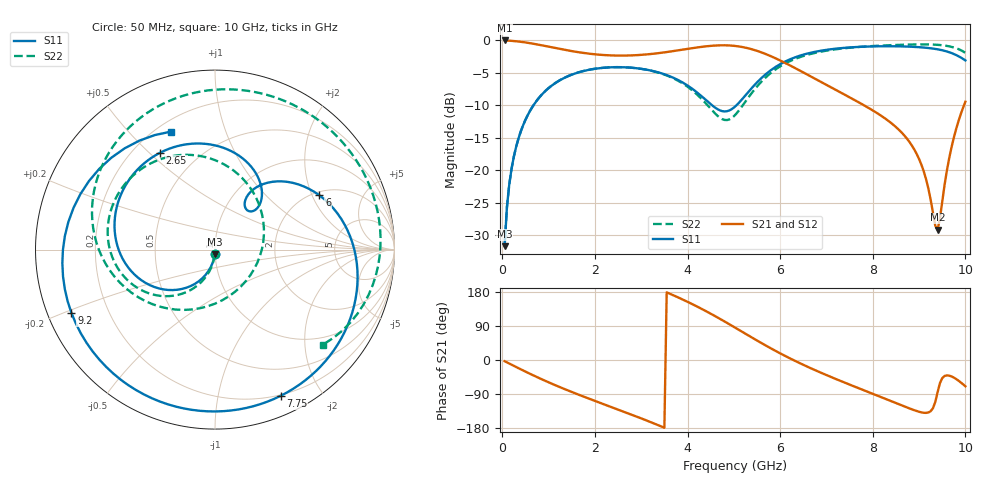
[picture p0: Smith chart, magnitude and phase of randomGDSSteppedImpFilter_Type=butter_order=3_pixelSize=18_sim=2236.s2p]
! freq	dB(S11)	phase(S11)	dB(S12)	phase(S12)
!  dB(S21)	phase(S21)	dB(S22)	phase(S22)
!S-par simulation data
#  GHz  S  DB  R 50
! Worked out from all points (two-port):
!   200 points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, 50 MHz to 10 GHz, reference 50 ohm
!   highest |S21| = -0.01 dB at 50 MHz (marker M1); lowest = -29.2 dB at 9.4 GHz (marker M2)
!   |S21| within 3 dB of the highest: start of sweep to 5.975 GHz
!   lowest |S11| = -31.7 dB at 50 MHz (marker M3), VSWR 1.05, Z = 49.8 - j2.58 ohm
!   |S11| at or under -10 dB: start of sweep to 674.3 MHz; 4.529 GHz to 5.057 GHz (527.4 MHz wide, 11 % of centre)
!   |S22| runs from -31.7 to -0.6 dB; largest |S21 - S12| = 0
!   S11 on the Smith chart (normalised r, x): 50 MHz: 1.00, -0.05; 2.65 GHz: 0.31, +0.54; 6 GHz: 2.14, +2.27; 7.75 GHz: 0.19, -1.53; 9.2 GHz: 0.07, -0.21; 10 GHz: 0.26, +0.66
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0.05  -31.73 -93.5  -0.01 -3.2  -0.01 -3.2  -31.73 -93.0
0.1  -25.73 -97.0  -0.02 -6.3  -0.02 -6.3  -25.73 -96.0
0.2  -19.79 -103.9  -0.07 -12.5  -0.07 -12.5  -19.79 -101.9
0.5  -12.25 -123.7  -0.31 -30.7  -0.31 -30.7  -12.24 -118.8
1.05  -7.06 -157.3  -1.04 -61.6  -1.04 -61.6  -7.05 -147.0
1.75  -4.73 164.6  -1.93 -96.3  -1.93 -96.3  -4.72 -178.3
2.65  -4.15 119.7  -2.34 -137.6  -2.34 -137.6  -4.14 144.4
3.4  -4.99 83.0  -1.94 -173.7  -1.94 -173.7  -5.03 109.9
4.25  -8.28 47.7  -1.04 138.4  -1.04 138.4  -8.64 52.0
4.65  -10.61 46.2  -0.77 112.1  -0.77 112.1  -11.64 1.0
5.05  -10.05 58.0  -0.87 83.8  -0.87 83.8  -11.32 -73.5
5.5  -6.48 51.8  -1.61 51.4  -1.61 51.4  -7.11 -133.8
6  -3.66 27.4  -3.09 17.6  -3.09 17.6  -4.00 -176.3
6.7  -1.84 -11.0  -5.70 -23.9  -5.70 -23.9  -2.01 140.1
7.2  -1.27 -37.4  -7.63 -50.0  -7.63 -50.0  -1.37 114.2
7.75  -0.98 -65.8  -9.76 -77.1  -9.76 -77.1  -0.98 87.8
8.35  -0.90 -98.1  -12.48 -106.2  -12.48 -106.2  -0.74 59.6
8.8  -0.96 -125.9  -15.74 -128.1  -15.74 -128.1  -0.63 37.5
9.2  -1.17 -156.3  -22.82 -138.6  -22.82 -138.6  -0.62 16.1
9.4  -1.37 -174.8  -29.18 -84.9  -29.18 -84.9  -0.68 4.1
9.7  -1.94 151.5  -16.49 -43.3  -16.49 -43.3  -0.99 -16.4
10  -3.08 110.5  -9.45 -69.4  -9.45 -69.4  -1.92 -41.3
